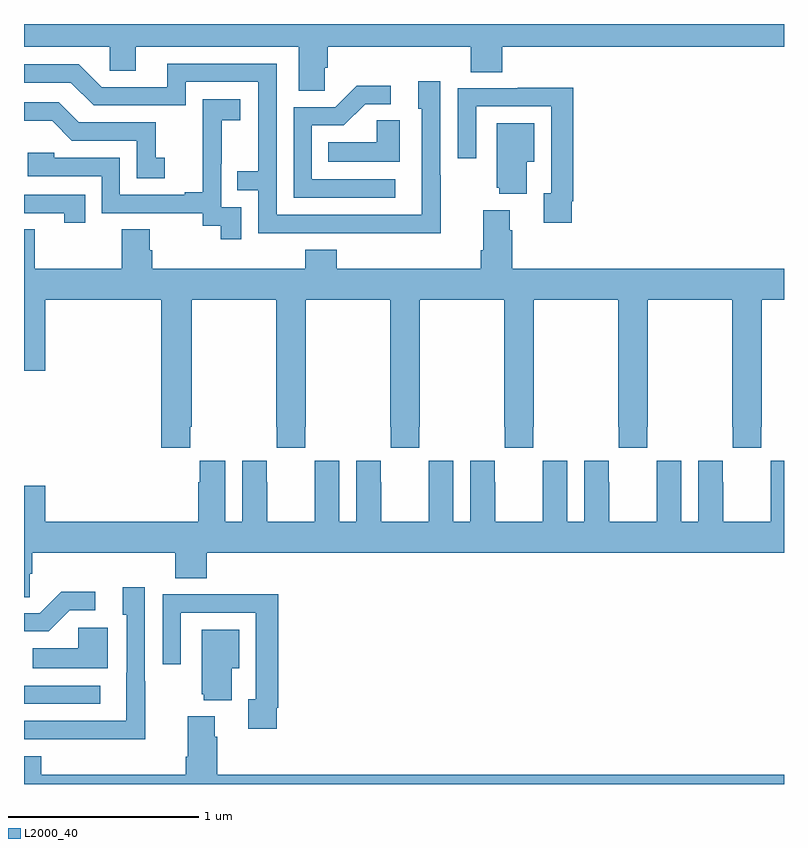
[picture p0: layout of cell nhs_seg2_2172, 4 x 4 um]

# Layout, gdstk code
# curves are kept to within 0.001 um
import gdstk
lib = gdstk.Library(unit=1e-6, precision=1e-09)
def R(c, l, rs):  # rectangles x0, y0, x1, y1
    for r in rs: c.add(gdstk.rectangle(r[:2], r[2:], *l))
def P(c, l, *ps):  # polygons
    for p in ps: c.add(gdstk.Polygon(p, *l))
L2000_40 = (2000, 40)

nhs_seg2_2172 = lib.new_cell('nhs_seg2_2172')
R(nhs_seg2_2172, L2000_40, [(225,600.222,225.4,600.318)])
P(nhs_seg2_2172, L2000_40, [(226.584,603.571),(226.598,603.571),(226.598,603.68),(227.351,603.68),(227.351,603.547),(227.516,603.547),(227.516,603.68),(229,603.68),(229,603.8),(225,603.8),(225,603.68),(225.45,603.68),(225.45,603.553),(225.589,603.553),(225.589,603.68),(226.445,603.68),(226.445,603.448),(226.584,603.448)],
  [(227.193,603.005),(227.19,603.005),(227.19,603.499),(227.075,603.499),(227.075,603.354),(227.094,603.354),(227.094,602.796),(226.329,602.796),(226.329,603.591),(225.755,603.591),(225.755,603.468),(225.408,603.468),(225.288,603.588),(225,603.588),(225,603.492),(225.246,603.492),(225.366,603.372),(225.852,603.372),(225.852,603.495),(226.233,603.495),(226.233,603.026),(226.123,603.026),(226.123,602.925),(226.233,602.925),(226.233,602.7),(227.193,602.699)],
  [(226.954,602.982),(226.515,602.982),(226.515,603.267),(226.684,603.267),(226.795,603.378),(226.93,603.378),(226.93,603.476),(226.751,603.476),(226.638,603.363),(226.419,603.363),(226.419,602.886),(226.954,602.886)],
  [(227.884,602.866),(227.891,602.866),(227.891,603.464),(227.599,603.464),(227.599,603.462),(227.283,603.462),(227.283,603.093),(227.379,603.093),(227.379,603.366),(227.775,603.366),(227.775,602.91),(227.735,602.91),(227.735,602.754),(227.884,602.754)],
  [(226.143,602.835),(226.038,602.835),(226.038,603.065),(226.04,603.065),(226.04,603.293),(226.138,603.293),(226.138,603.403),(225.94,603.403),(225.94,603.197),(225.941,603.197),(225.941,602.914),(225.845,602.914),(225.845,602.901),(225.504,602.901),(225.504,603.096),(225.159,603.096),(225.159,603.123),(225.019,603.123),(225.019,603),(225.408,603),(225.408,602.805),(225.942,602.805),(225.942,602.737),(226.035,602.737),(226.035,602.667),(226.143,602.667)],
  [(225.742,603.097),(225.693,603.097),(225.693,603.282),(225.289,603.282),(225.184,603.387),(225,603.387),(225,603.29),(225.148,603.29),(225.252,603.186),(225.594,603.186),(225.594,602.988),(225.742,602.988)],
  [(226.978,603.293),(226.857,603.293),(226.857,603.178),(226.6,603.178),(226.6,603.074),(226.978,603.074)],
  [(227.647,603.074),(227.686,603.074),(227.686,603.277),(227.489,603.277),(227.489,602.937),(227.501,602.937),(227.501,602.906),(227.647,602.906)],
  [(225.323,602.901),(225,602.901),(225,602.805),(225.212,602.805),(225.212,602.754),(225.323,602.754)],
  [(225.875,601.681),(225.882,601.681),(225.882,602.348),(226.327,602.348),(226.327,601.681),(226.329,601.681),(226.329,601.569),(226.479,601.569),(226.479,601.681),(226.482,601.681),(226.482,602.348),(226.927,602.348),(226.927,601.681),(226.929,601.681),(226.929,601.569),(227.079,601.569),(227.079,601.681),(227.082,601.681),(227.082,602.348),(227.527,602.348),(227.527,601.681),(227.529,601.681),(227.529,601.569),(227.679,601.569),(227.679,601.681),(227.682,601.681),(227.682,602.348),(228.127,602.348),(228.127,601.681),(228.129,601.681),(228.129,601.569),(228.279,601.569),(228.279,601.681),(228.282,601.681),(228.282,602.348),(228.727,602.348),(228.727,601.681),(228.729,601.681),(228.729,601.569),(228.879,601.569),(228.879,601.681),(228.882,601.681),(228.882,602.348),(229,602.348),(229,602.512),(227.57,602.512),(227.57,602.714),(227.557,602.714),(227.557,602.821),(227.417,602.821),(227.417,602.608),(227.405,602.608),(227.405,602.512),(226.646,602.512),(226.646,602.611),(226.481,602.611),(226.481,602.512),(225.674,602.512),(225.674,602.61),(225.661,602.61),(225.661,602.72),(225.514,602.72),(225.514,602.512),(225.057,602.512),(225.057,602.72),(225,602.72),(225,601.974),(225.112,601.974),(225.112,602.348),(225.722,602.348),(225.722,601.569),(225.875,601.569)],
  [(225.03,600.907),(225.044,600.907),(225.044,601.016),(225.797,601.016),(225.797,600.883),(225.962,600.883),(225.962,601.016),(229,601.016),(229,601.501),(228.93,601.501),(228.93,601.388),(228.929,601.388),(228.929,601.18),(228.679,601.18),(228.679,601.388),(228.678,601.388),(228.678,601.501),(228.548,601.501),(228.548,601.18),(228.46,601.18),(228.46,601.501),(228.33,601.501),(228.33,601.388),(228.329,601.388),(228.329,601.18),(228.079,601.18),(228.079,601.388),(228.078,601.388),(228.078,601.501),(227.948,601.501),(227.948,601.18),(227.86,601.18),(227.86,601.501),(227.73,601.501),(227.73,601.388),(227.729,601.388),(227.729,601.18),(227.479,601.18),(227.479,601.388),(227.478,601.388),(227.478,601.501),(227.348,601.501),(227.348,601.18),(227.26,601.18),(227.26,601.501),(227.13,601.501),(227.13,601.388),(227.129,601.388),(227.129,601.18),(226.879,601.18),(226.879,601.388),(226.878,601.388),(226.878,601.501),(226.748,601.501),(226.748,601.18),(226.66,601.18),(226.66,601.501),(226.53,601.501),(226.53,601.388),(226.529,601.388),(226.529,601.18),(226.279,601.18),(226.279,601.388),(226.278,601.388),(226.278,601.501),(226.148,601.501),(226.148,601.18),(226.06,601.18),(226.06,601.501),(225.926,601.501),(225.926,601.388),(225.917,601.388),(225.917,601.18),(225.112,601.18),(225.112,601.369),(225,601.369),(225,600.784),(225.03,600.784)],
  [(225.639,600.341),(225.636,600.341),(225.636,600.835),(225.521,600.835),(225.521,600.69),(225.54,600.69),(225.54,600.386),(225.539,600.386),(225.539,600.132),(225,600.132),(225,600.036),(225.175,600.036),(225.175,600.035),(225.639,600.035)],
  [(225.241,600.714),(225.376,600.714),(225.376,600.812),(225.197,600.812),(225.084,600.699),(225,600.699),(225,600.603),(225.13,600.603)],
  [(226.33,600.202),(226.337,600.202),(226.337,600.8),(226.045,600.8),(226.045,600.798),(225.729,600.798),(225.729,600.429),(225.825,600.429),(225.825,600.702),(226.221,600.702),(226.221,600.246),(226.181,600.246),(226.181,600.09),(226.33,600.09)],
  [(225.442,600.622),(225.285,600.622),(225.285,600.514),(225.046,600.514),(225.046,600.41),(225.442,600.41)],
  [(226.093,600.41),(226.132,600.41),(226.132,600.613),(225.935,600.613),(225.935,600.273),(225.947,600.273),(225.947,600.242),(226.093,600.242)],
  [(225,599.947),(225,599.8),(229,599.8),(229,599.848),(226.016,599.848),(226.016,600.05),(226.003,600.05),(226.003,600.157),(225.863,600.157),(225.863,599.944),(225.851,599.944),(225.851,599.848),(225.092,599.848),(225.092,599.947)])

lib.write_gds('nhs_seg2_2172.gds')
